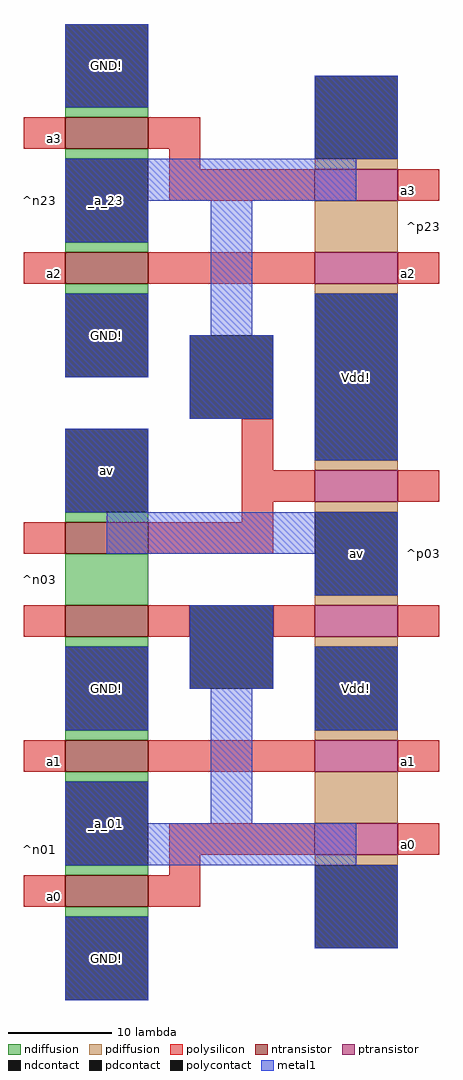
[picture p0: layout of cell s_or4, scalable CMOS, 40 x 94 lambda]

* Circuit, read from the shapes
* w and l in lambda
.subckt s_or4 GND! Vdd! _a_01 _a_23 a0 a1 a2 a3 av
M1 _a_01 a0 GND! VSUBS nfet w=8 l=3
M2 GND! a1 _a_01 VSUBS nfet w=8 l=3
M3 n1 _a_01 GND! VSUBS nfet w=8 l=3
M4 av _a_23 n1 VSUBS nfet w=8 l=3
M5 _a_23 a2 GND! VSUBS nfet w=8 l=3
M6 GND! a3 _a_23 VSUBS nfet w=8 l=3
M7 n2 a0 _a_01 NWELL pfet w=8 l=3
M8 Vdd! a1 n2 NWELL pfet w=8 l=3
M9 av _a_01 Vdd! NWELL pfet w=8 l=3
M10 Vdd! _a_23 av NWELL pfet w=8 l=3
M11 n3 a2 Vdd! NWELL pfet w=8 l=3
M12 _a_23 a3 n3 NWELL pfet w=8 l=3
.ends

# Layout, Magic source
magic
tech scmos
<< ndiffusion >>
rect -57 67 -49 68
rect -57 63 -49 64
rect -57 54 -49 55
rect -57 50 -49 51
rect -57 28 -49 29
rect -57 20 -49 25
rect -57 16 -49 17
rect -57 7 -49 8
rect -57 3 -49 4
rect -57 -6 -49 -5
rect -57 -10 -49 -9
<< pdiffusion >>
rect -33 62 -25 63
rect -33 54 -25 59
rect -33 50 -25 51
rect -33 33 -25 34
rect -33 29 -25 30
rect -33 20 -25 21
rect -33 16 -25 17
rect -33 7 -25 8
rect -33 -1 -25 4
rect -33 -5 -25 -4
<< ntransistor >>
rect -57 64 -49 67
rect -57 51 -49 54
rect -57 25 -49 28
rect -57 17 -49 20
rect -57 4 -49 7
rect -57 -9 -49 -6
<< ptransistor >>
rect -33 59 -25 62
rect -33 51 -25 54
rect -33 30 -25 33
rect -33 17 -25 20
rect -33 4 -25 7
rect -33 -4 -25 -1
<< polysilicon >>
rect -61 64 -57 67
rect -49 64 -44 67
rect -47 62 -44 64
rect -47 59 -33 62
rect -25 59 -21 62
rect -61 51 -57 54
rect -49 51 -33 54
rect -25 51 -21 54
rect -40 33 -37 38
rect -40 30 -33 33
rect -25 30 -21 33
rect -40 28 -37 30
rect -61 25 -57 28
rect -49 25 -37 28
rect -61 17 -57 20
rect -49 17 -45 20
rect -37 17 -33 20
rect -25 17 -21 20
rect -61 4 -57 7
rect -49 4 -33 7
rect -25 4 -21 7
rect -47 -4 -33 -1
rect -25 -4 -21 -1
rect -47 -6 -44 -4
rect -61 -9 -57 -6
rect -49 -9 -44 -6
<< ndcontact >>
rect -57 68 -49 76
rect -57 55 -49 63
rect -57 42 -49 50
rect -57 29 -49 37
rect -57 8 -49 16
rect -57 -5 -49 3
rect -57 -18 -49 -10
<< pdcontact >>
rect -33 63 -25 71
rect -33 34 -25 50
rect -33 21 -25 29
rect -33 8 -25 16
rect -33 -13 -25 -5
<< polycontact >>
rect -45 38 -37 46
rect -45 12 -37 20
<< metal1 >>
rect -57 68 -49 76
rect -33 63 -25 71
rect -57 59 -29 63
rect -57 55 -49 59
rect -57 42 -49 50
rect -43 46 -39 59
rect -45 38 -37 46
rect -57 29 -49 37
rect -33 34 -25 50
rect -53 25 -25 29
rect -33 21 -25 25
rect -57 8 -49 16
rect -45 12 -37 20
rect -57 -1 -49 3
rect -43 -1 -39 12
rect -33 8 -25 16
rect -57 -5 -29 -1
rect -57 -18 -49 -10
rect -33 -13 -25 -5
<< labels >>
rlabel metal1 -53 46 -53 46 1 GND!
rlabel metal1 -53 72 -53 72 5 GND!
rlabel polysilicon -58 52 -58 52 3 a2
rlabel polysilicon -24 52 -24 52 7 a2
rlabel polysilicon -24 60 -24 60 7 a3
rlabel polysilicon -58 65 -58 65 3 a3
rlabel metal1 -53 59 -53 59 1 _a_23
rlabel metal1 -53 33 -53 33 1 av
rlabel metal1 -29 25 -29 25 1 av
rlabel metal1 -53 -1 -53 -1 1 _a_01
rlabel polysilicon -24 -3 -24 -3 7 a0
rlabel polysilicon -24 5 -24 5 7 a1
rlabel polysilicon -58 5 -58 5 3 a1
rlabel polysilicon -58 -8 -58 -8 3 a0
rlabel metal1 -29 12 -29 12 5 Vdd!
rlabel metal1 -53 -14 -53 -14 1 GND!
rlabel metal1 -53 12 -53 12 5 GND!
rlabel metal1 -29 42 -29 42 1 Vdd!
rlabel space -62 -18 -57 11 7 ^n01
rlabel space -25 -13 -20 9 3 ^p01
rlabel space -62 15 -57 30 7 ^n03
rlabel space -25 15 -20 35 3 ^p03
rlabel space -25 49 -20 64 3 ^p23
rlabel space -62 42 -57 76 7 ^n23
<< end >>
